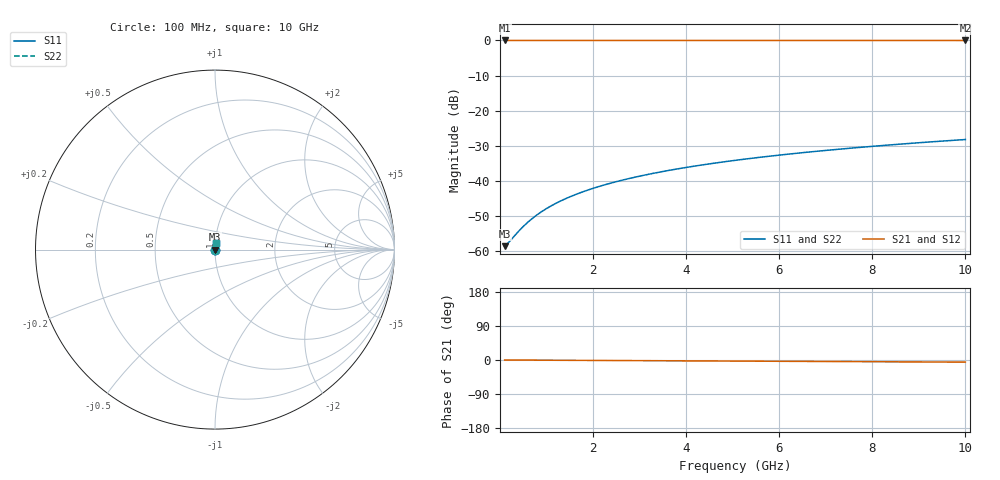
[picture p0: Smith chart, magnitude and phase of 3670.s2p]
# Hz S RI R 50.00
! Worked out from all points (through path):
!   100 points, 100 MHz to 10 GHz, reference 50 ohm
!   highest |S21| = -0.01 dB at 100 MHz (marker M1); lowest = 0.0 dB at 10 GHz (marker M2)
!   lowest |S11| = -58.6 dB at 100 MHz (marker M3), VSWR 1.00, Z = 50.1 + j0.0388 ohm
!   |S11| at or under -10 dB: start of sweep to end of sweep
!   |S22| runs from -58.6 to -28.2 dB; largest |S21 - S12| = 0
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1e8  0.00111 0.000387  0.9989 -0.000982  0.9989 -0.000982  0.00111 0.000387
2e8  0.00112 0.000774  0.9989 -0.00196  0.9989 -0.00196  0.00112 0.000774
4e8  0.00114 0.00155  0.9989 -0.00393  0.9989 -0.00393  0.00114 0.00155
5e8  0.00114 0.00193  0.9988 -0.00491  0.9988 -0.00491  0.00114 0.00193
6e8  0.00115 0.00232  0.9988 -0.00589  0.9988 -0.00589  0.00115 0.00232
7e8  0.00116 0.00271  0.9988 -0.00688  0.9988 -0.00688  0.00116 0.00271
8e8  0.00117 0.00309  0.9988 -0.00786  0.9988 -0.00786  0.00117 0.00309
1e9  0.00119 0.00387  0.9988 -0.00982  0.9988 -0.00982  0.00119 0.00387
1.2e9  0.00121 0.00464  0.9988 -0.0118  0.9988 -0.0118  0.00121 0.00464
1.5e9  0.00124 0.0058  0.9987 -0.0147  0.9987 -0.0147  0.00124 0.0058
1.8e9  0.00128 0.00696  0.9986 -0.0177  0.9986 -0.0177  0.00128 0.00696
2.1e9  0.00133 0.00812  0.9986 -0.0206  0.9986 -0.0206  0.00133 0.00812
2.5e9  0.00141 0.00967  0.9985 -0.0246  0.9985 -0.0246  0.00141 0.00967
2.9e9  0.00149 0.0112  0.9983 -0.0285  0.9983 -0.0285  0.00149 0.0112
3.4e9  0.00162 0.0131  0.9982 -0.0334  0.9982 -0.0334  0.00162 0.0131
4.2e9  0.00186 0.0162  0.9978 -0.0413  0.9978 -0.0413  0.00186 0.0162
5.1e9  0.00219 0.0197  0.9973 -0.0501  0.9973 -0.0501  0.00219 0.0197
5.9e9  0.00253 0.0228  0.9968 -0.058  0.9968 -0.058  0.00253 0.0228
6.7e9  0.00292 0.0259  0.9962 -0.0659  0.9962 -0.0659  0.00292 0.0259
7.5e9  0.00336 0.0289  0.9956 -0.0738  0.9956 -0.0738  0.00336 0.0289
8.4e9  0.00391 0.0324  0.9948 -0.0826  0.9948 -0.0826  0.00391 0.0324
1e10  0.00506 0.0385  0.9931 -0.0984  0.9931 -0.0984  0.00506 0.0385
